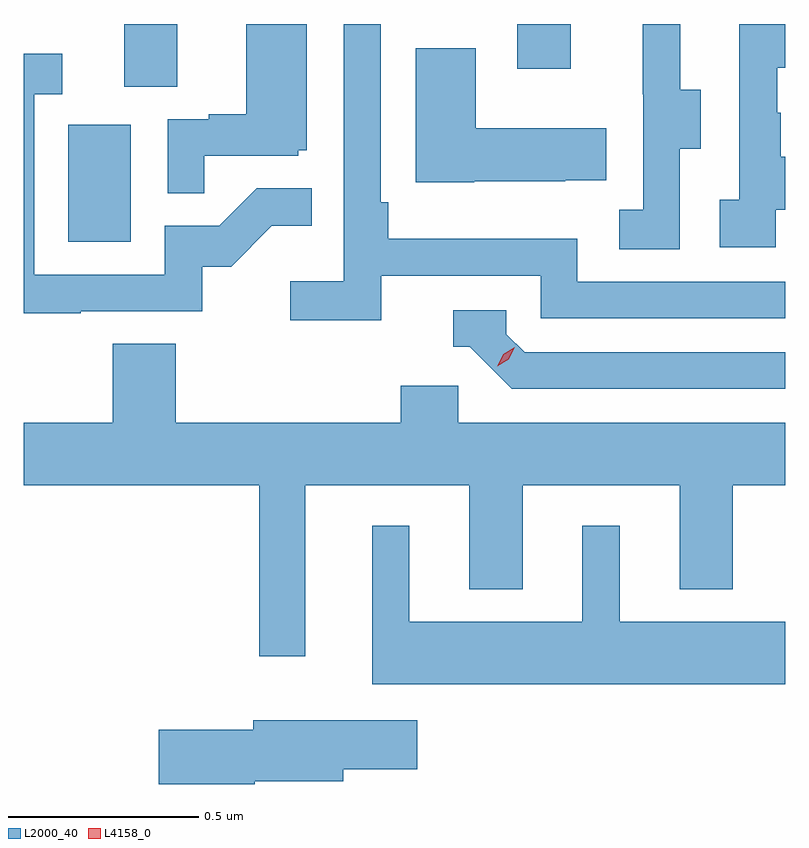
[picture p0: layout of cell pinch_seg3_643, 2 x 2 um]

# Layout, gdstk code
import gdstk
lib = gdstk.Library(unit=1e-6, precision=1e-09)
def R(c, l, rs):  # rectangles x0, y0, x1, y1
    for r in rs: c.add(gdstk.rectangle(r[:2], r[2:], *l))
def P(c, l, *ps):  # polygons
    for p in ps: c.add(gdstk.Polygon(p, *l))
L2000_40 = (2000, 40)
L4158_0 = (4158, 0)

pinch_seg3_643 = lib.new_cell('pinch_seg3_643')
R(pinch_seg3_643, L2000_40, [(1021.352,672.252,1021.516,672.559), (1021.499,672.658,1021.639,672.823), (1022.531,672.705,1022.671,672.823)])
P(pinch_seg3_643, L2000_40, [(1021.709,672.477),(1021.956,672.477),(1021.956,672.492),(1021.978,672.492),(1021.978,672.823),(1021.82,672.823),(1021.82,672.586),(1021.721,672.586),(1021.721,672.573),(1021.614,672.573),(1021.614,672.379),(1021.709,672.379)],
  [(1022.958,672.496),(1023.013,672.496),(1023.013,672.651),(1022.959,672.651),(1022.959,672.823),(1022.861,672.823),(1022.861,672.639),(1022.862,672.639),(1022.862,672.335),(1022.799,672.335),(1022.799,672.232),(1022.958,672.232)],
  [(1023.21,672.335),(1023.235,672.335),(1023.235,672.475),(1023.223,672.475),(1023.223,672.59),(1023.213,672.59),(1023.213,672.708),(1023.235,672.708),(1023.235,672.823),(1023.114,672.823),(1023.114,672.362),(1023.063,672.362),(1023.063,672.237),(1023.21,672.237)],
  [(1022.174,672.162),(1022.592,672.162),(1022.592,672.051),(1023.235,672.051),(1023.235,672.147),(1022.688,672.147),(1022.688,672.259),(1022.192,672.259),(1022.192,672.355),(1022.172,672.355),(1022.172,672.823),(1022.076,672.823),(1022.076,672.148),(1021.935,672.148),(1021.935,672.046),(1022.174,672.046)],
  [(1022.418,672.41),(1022.657,672.41),(1022.657,672.413),(1022.765,672.413),(1022.765,672.55),(1022.422,672.55),(1022.422,672.76),(1022.264,672.76),(1022.264,672.407),(1022.418,672.407)],
  [(1021.385,672.069),(1021.704,672.069),(1021.704,672.186),(1021.78,672.186),(1021.887,672.293),(1021.991,672.293),(1021.991,672.392),(1021.847,672.392),(1021.749,672.294),(1021.605,672.294),(1021.605,672.165),(1021.263,672.165),(1021.263,672.639),(1021.336,672.639),(1021.336,672.745),(1021.235,672.745),(1021.235,672.064),(1021.385,672.064)],
  [(1023.235,671.961),(1022.55,671.961),(1022.502,672.009),(1022.502,672.072),(1022.363,672.072),(1022.363,671.976),(1022.406,671.976),(1022.517,671.865),(1023.235,671.865)],
  [(1021.975,671.612),(1022.405,671.612),(1022.405,671.339),(1022.545,671.339),(1022.545,671.612),(1022.957,671.612),(1022.957,671.339),(1023.097,671.339),(1023.097,671.612),(1023.235,671.612),(1023.235,671.776),(1022.376,671.776),(1022.376,671.874),(1022.225,671.874),(1022.225,671.776),(1021.634,671.776),(1021.634,671.984),(1021.469,671.984),(1021.469,671.776),(1021.235,671.776),(1021.235,671.612),(1021.854,671.612),(1021.854,671.163),(1021.975,671.163)],
  [(1023.235,671.254),(1022.8,671.254),(1022.8,671.506),(1022.702,671.506),(1022.702,671.254),(1022.248,671.254),(1022.248,671.506),(1022.15,671.506),(1022.15,671.09),(1023.235,671.09)],
  [(1021.842,670.835),(1022.074,670.835),(1022.074,670.867),(1022.269,670.867),(1022.269,670.996),(1021.838,670.996),(1021.838,670.97),(1021.59,670.97),(1021.59,670.828),(1021.842,670.828)])
P(pinch_seg3_643, L4158_0, [(1022.478,671.924),(1022.478,671.924),(1022.494,671.956),(1022.525,671.975),(1022.525,671.975),(1022.525,671.975),(1022.509,671.943),(1022.478,671.924)])

lib.write_gds('pinch_seg3_643.gds')
